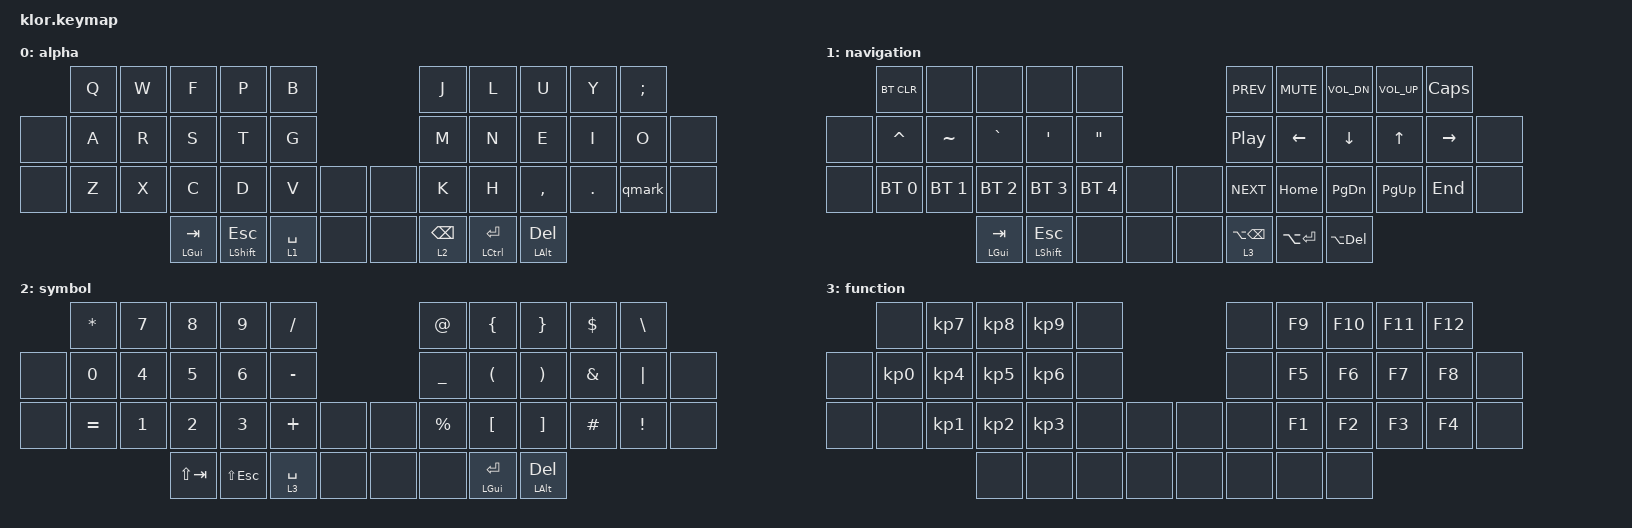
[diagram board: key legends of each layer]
#include <behaviors.dtsi>
#include <dt-bindings/zmk/bt.h>
#include <dt-bindings/zmk/keys.h>

/ {
    behaviors {
        qmark: qmark {
            compatible = "zmk,behavior-mod-morph";
            label = "QMARK";
            bindings = <&kp QMARK>, <&kp EXCL>;

            #binding-cells = <0>;
            mods = <(MOD_LSFT)>;
        };

        ht: holdtap {
            compatible = "zmk,behavior-hold-tap";
            #binding-cells = <2>;
            tapping-term-ms = <200>;
            quick_tap_ms = <0>;
            flavor = "tap-preferred";
            bindings = <&kp>, <&kp>;
        };
    };

    keymap {
        compatible = "zmk,keymap";

        alpha {
            bindings = <
       &kp Q  &kp W  &kp F         &kp P          &kp B                        &kp J       &kp L          &kp U         &kp Y    &kp SEMI
&none  &kp A  &kp R  &kp S         &kp T          &kp G                        &kp M       &kp N          &kp E         &kp I    &kp O     &none
&none  &kp Z  &kp X  &kp C         &kp D          &kp V        &none    &none  &kp K       &kp H          &kp COMMA     &kp DOT  &qmark    &none
                     &ht LGUI TAB  &ht LSHFT ESC  &lt 1 SPACE  &none    &none  &lt 2 BSPC  &ht LCTRL RET  &ht LALT DEL
            >;
        };

        navigation {
            bindings = <
       &bt BT_CLR    &none         &none         &none          &none                         &kp C_PREV        &kp C_MUTE    &kp C_VOL_DN  &kp C_VOL_UP  &kp CAPS
&none  &kp CARET     &kp TILDE     &kp GRAVE     &kp SQT        &kp DQT                       &kp C_PLAY_PAUSE  &kp LEFT      &kp DOWN      &kp UP        &kp RIGHT  &none
&none  &bt BT_SEL 0  &bt BT_SEL 1  &bt BT_SEL 2  &bt BT_SEL 3   &bt BT_SEL 4  &none    &none  &kp C_NEXT        &kp HOME      &kp PG_DN     &kp PG_UP     &kp END    &none
                                   &ht LGUI TAB  &ht LSHFT ESC  &none         &none    &none  &lt 3 LA(BSPC)    &kp LA(RET)   &kp LA(DEL)
            >;
        };

        symbol {
            bindings = <
       &kp ASTRK  &kp N7  &kp N8       &kp N9       &kp FSLH                     &kp AT     &kp LBRC      &kp RBRC      &kp DLLR  &kp BSLH
&none  &kp N0     &kp N4  &kp N5       &kp N6       &kp MINUS                    &kp UNDER  &kp LPAR      &kp RPAR      &kp AMPS  &kp PIPE  &none
&none  &kp EQUAL  &kp N1  &kp N2       &kp N3       &kp PLUS     &none    &none  &kp PRCNT  &kp LBKT      &kp RBKT      &kp HASH  &kp EXCL  &none
                          &kp LS(TAB)  &kp LS(ESC)  &lt 3 SPACE  &none    &none  &none      &ht LGUI RET  &ht LALT DEL
            >;
        };

        function {
            bindings = <
       &none      &kp KP_N7  &kp KP_N8  &kp KP_N9  &none                  &none  &kp F9  &kp F10  &kp F11  &kp F12    
&none  &kp KP_N0  &kp KP_N4  &kp KP_N5  &kp KP_N6  &none                  &none  &kp F5  &kp F6   &kp F7   &kp F8   &none
&none  &none      &kp KP_N1  &kp KP_N2  &kp KP_N3  &none  &none    &none  &none  &kp F1  &kp F2   &kp F3   &kp F4   &none
                             &none      &none      &none  &none    &none  &none  &none   &none
            >;
        };
    };
};
